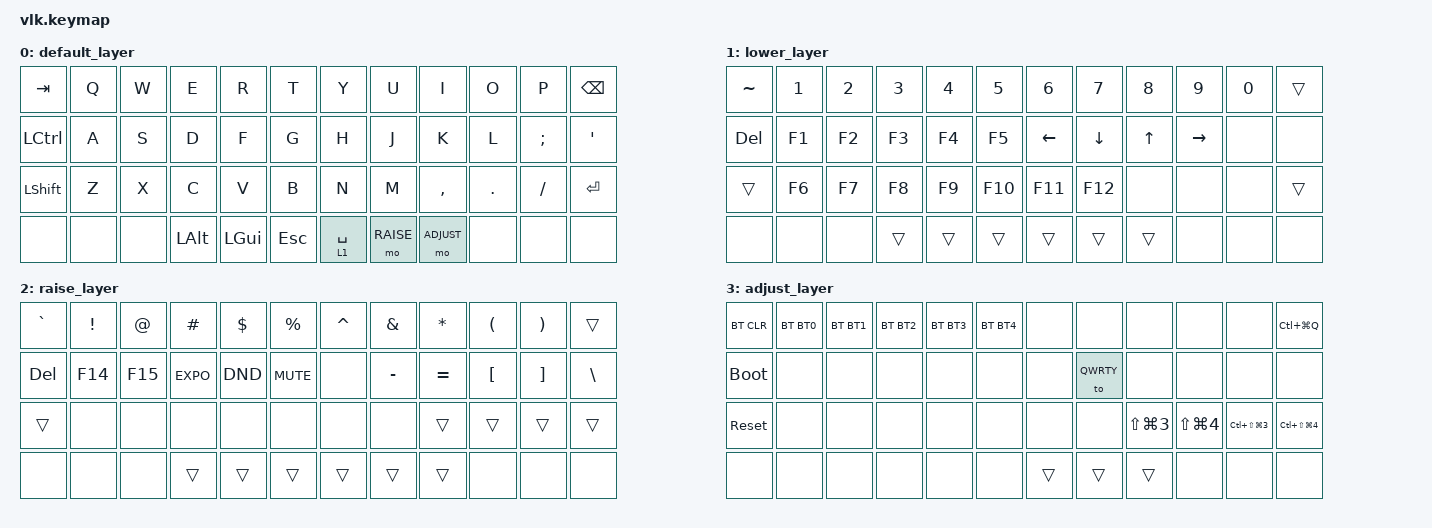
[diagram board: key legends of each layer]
#include <behaviors.dtsi>
#include <dt-bindings/zmk/keys.h>
#include <dt-bindings/zmk/bt.h>
#include <dt-bindings/zmk/outputs.h>

// Layer Definitions
#define QWRTY 0     // Qwerty
#define LOWER 1
#define RAISE 2
#define ADJUST 3

// Apple Specific Definitions
// See: https://opensource.apple.com/source/IOHIDFamily/IOHIDFamily-1035.70.7/IOHIDFamily/AppleHIDUsageTables.h.auto.html
#define APPL_KEY_PAGE (0xff01)
#define EXPOSE_ALL (ZMK_HID_USAGE(APPL_KEY_PAGE, 0x0010))
#define DND (ZMK_HID_USAGE(HID_USAGE_GD, HID_USAGE_GD_SYSTEM_DO_NOT_DISTURB))

// Abbreviations
#define BRID F14
#define BRIU F15
#define EXPO (EXPOSE_ALL)
#define MUTE C_MUTE
#define CVOLD C_VOLUME_DOWN
#define CVOLU C_VOLUME_UP
#define BT0 BT_SEL 0
#define BT1 BT_SEL 1
#define BT2 BT_SEL 2
#define BT3 BT_SEL 3
#define BT4 BT_SEL 4
#define LOCK LC(LG(Q))          // MacOS Lock Screen
#define SCRNF LS(LG(N3))        // MacOS Full Screenshot
#define SCRNP LS(LG(N4))        // MacOS Partial Screenshot
#define SCRNFC LC(LS(LG(N3)))   // MacOS Full Screenshot to Clipboard
#define SCRNPC LC(LS(LG(N4)))   // MacOS Partial Screenshot to Clipboard

/ {

    keymap {
        compatible = "zmk,keymap";

        default_layer {
            bindings = <
        //  ╭──────────┬──────────┬──────────┬──────────┬──────────┬──────────┬──────────┬──────────┬──────────┬──────────┬──────────┬──────────╮
        //  │ TAB      │  Q       │  W       │  E       │  R       │  T       │  Y       │  U       │  I       │  O       │  P       │  BSPC    │
              &kp TAB     &kp Q      &kp W      &kp E      &kp R      &kp T      &kp Y      &kp U      &kp I      &kp O      &kp P      &kp BSPC
        //  ├──────────┼──────────┼──────────┼──────────┼──────────┼──────────┼──────────┼──────────┼──────────┼──────────┼──────────┼──────────┤
        //  │ CTRL     │  A       │  S       │  D       │  F       │  G       │  H       │  J       │  K       │  L       │  ;       │  '       │
              &kp LCTRL   &kp A      &kp S      &kp D      &kp F      &kp G      &kp H      &kp J      &kp K      &kp L      &kp SEMI   &kp SQT   
        //  ├──────────┼──────────┼──────────┼──────────┼──────────┼──────────┼──────────┼──────────┼──────────┼──────────┼──────────┼──────────┤
        //  │ SHIFT    │  Z       │  X       │  C       │  V       │  B       │  N       │  M       │  ,       │  .       │  /       │  ENTER   │
              &kp LSHFT   &kp Z      &kp X      &kp C      &kp V      &kp B      &kp N      &kp M      &kp COMMA  &kp DOT    &kp FSLH   &kp RET   
        //  ├──────────┼──────────┼──────────┼──────────┼──────────┼──────────┼──────────┼──────────┼──────────┼──────────┼──────────┼──────────┤
        //  │ ----     │ ----     │ ----     │ ALT      │ GUI      │ ESC      │ L1/SPACE │ L2       │ L3       │ ----     │ ----     │ ----     │
              &none      &none      &none      &kp LALT   &kp LGUI   &kp ESC   &lt 1 SPACE &mo RAISE  &mo ADJUST &none      &none      &none  
        //  ╰──────────┴──────────┴──────────┴──────────┴──────────┴──────────┴──────────┴──────────┴──────────┴──────────┴──────────┴──────────╯
            >;
        };

        lower_layer {
            bindings = <
        //  ╭──────────┬──────────┬──────────┬──────────┬──────────┬──────────┬──────────┬──────────┬──────────┬──────────┬──────────┬──────────╮
        //  │  ~       │  1       │  2       │  3       │  4       │  5       │  6       │  7       │  8       │  9       │  0       │  TRANS   │
               &kp TILDE  &kp N1     &kp N2     &kp N3     &kp N4     &kp N5     &kp N6     &kp N7     &kp N8     &kp N9     &kp N0     &trans   
        //  ├──────────┼──────────┼──────────┼──────────┼──────────┼──────────┼──────────┼──────────┼──────────┼──────────┼──────────┼──────────┤
        //  │  DEL     │  F1      │  F2      │  F3      │  F4      │  F5      │  LEFT    │  DOWN    │  UP      │  RIGHT   │  NONE    │  NONE    │
               &kp DEL    &kp F1     &kp F2     &kp F3     &kp F4     &kp F5     &kp LEFT   &kp DOWN   &kp UP     &kp RIGHT  &none      &none  
        //  ├──────────┼──────────┼──────────┼──────────┼──────────┼──────────┼──────────┼──────────┼──────────┼──────────┼──────────┼──────────┤
        //  │  TRANS   │  F6      │  F7      │  F8      │  F9      │  F10     │  F11     │  F12     │  NONE    │  NONE    │  NONE    │  TRANS   │
               &trans     &kp F6     &kp F7     &kp F8     &kp F9     &kp F10    &kp F11    &kp F12    &none      &none      &none      &trans   
        //  ├──────────┼──────────┼──────────┼──────────┼──────────┼──────────┼──────────┼──────────┼──────────┼──────────┼──────────┼──────────┤
        //  │ ----     │ ----     │ ----     │ TRANS    │ TRANS    │ TRANS    │ TRANS    │ TRANS    │ TRANS    │ ----     │ ----     │ ----     │
              &none      &none      &none      &trans     &trans     &trans     &trans     &trans     &trans     &none      &none      &none   
        //  ╰──────────┴──────────┴──────────┴──────────┴──────────┴──────────┴──────────┴──────────┴──────────┴──────────┴──────────┴──────────╯
            >;
        };

        raise_layer {
            bindings = <
        //  ╭──────────┬──────────┬──────────┬──────────┬──────────┬──────────┬──────────┬──────────┬──────────┬──────────┬──────────┬──────────╮
        //  │  `       │  !       │  @       │  #       │  $       │  %       │  ^       │  &       │  *       │  (       │  )       │ TRANS    │
             &kp GRAVE    &kp EXCL    &kp AT    &kp HASH   &kp DLLR  &kp PRCNT  &kp CARET   &kp AMPS  &kp ASTRK   &kp LPAR   &kp RPAR  &trans   
        //  ├──────────┼──────────┼──────────┼──────────┼──────────┼──────────┼──────────┼──────────┼──────────┼──────────┼──────────┼──────────┤
        //  │ DEL      │ BRI_UP   │ BRI_DN   │ EXPO     │ DND      │ MUTE     │ NONE     │  -       │  =       │  [       │  ]       │  \       │
              &kp DEL    &kp BRID   &kp BRIU   &kp EXPO   &kp DND    &kp MUTE   &none      &kp MINUS  &kp EQUAL   &kp LBKT   &kp RBKT   &kp BSLH  
        //  ├──────────┼──────────┼──────────┼──────────┼──────────┼──────────┼──────────┼──────────┼──────────┼──────────┼──────────┼──────────┤
        //  │ TRANS    │ NONE     │ NONE     │ NONE     │ NONE     │ NONE     │ NONE     │ NONE     │ TRANS    │ TRANS    │ TRANS    │ TRANS    │
              &trans     &none      &none      &none      &none      &none      &none      &none      &trans     &trans     &trans     &trans   
        //  ├──────────┼──────────┼──────────┼──────────┼──────────┼──────────┼──────────┼──────────┼──────────┼──────────┼──────────┼──────────┤
        //  │ ----     │ ----     │ ----     │ TRANS    │ TRANS    │ TRANS    │ TRANS    │ TRANS    │ TRANS    │ ----     │ ----     │ ----     │
              &none      &none      &none      &trans     &trans     &trans     &trans     &trans     &trans     &none      &none      &none 
        //  ╰──────────┴──────────┴──────────┴──────────┴──────────┴──────────┴──────────┴──────────┴──────────┴──────────┴──────────┴──────────╯
            >;
        };

        adjust_layer {
            bindings = <
        //  ╭──────────┬──────────┬──────────┬──────────┬──────────┬──────────┬──────────┬──────────┬──────────┬──────────┬──────────┬──────────╮
        //  │ BT_CLR   │ BT 1     │ BT 2     │ BT 3     │ BT 4     │ BT 5     │ NONE     │ NONE     │ NONE     │ NONE     │ NONE     │ LOCK     │
              &bt BT_CLR &bt BT0    &bt BT1    &bt BT2    &bt BT3    &bt BT4    &none      &none      &none      &none      &none      &kp LOCK
        //  ├──────────┼──────────┼──────────┼──────────┼──────────┼──────────┼──────────┼──────────┼──────────┼──────────┼──────────┼──────────┤
        //  │ NONE     │ NONE     │ NONE     │ NONE     │ NONE     │ NONE     │ NONE     │ QWRTY    │ CLMK     │ DVRK     │ WORK     │ NONE     │
             &bootloader &none      &none      &none      &none      &none      &none      &to QWRTY  &none      &none      &none      &none
        //  ├──────────┼──────────┼──────────┼──────────┼──────────┼──────────┼──────────┼──────────┼──────────┼──────────┼──────────┼──────────┤
        //  │ NONE     │ NONE     │ NONE     │ NONE     │ NONE     │ NONE     │ NONE     │ NONE     │ SCRNF    │ SCRNP    │ SCRNFC   │ SCRNPC   │
              &sys_reset &none      &none      &none      &none      &none      &none      &none      &kp SCRNF  &kp SCRNP  &kp SCRNFC &kp SCRNPC
        //  ├──────────┼──────────┼──────────┼──────────┼──────────┼──────────┼──────────┼──────────┼──────────┼──────────┼──────────┼──────────┤
        //  │ ----     │ ----     │ ----     │ NONE     │ NONE     │ NONE     │ TRANS    │ TRANS    │ TRANS    │ ----     │ ----     │ ----     |
              &none      &none      &none      &none      &none      &none      &trans     &trans     &trans     &none      &none      &none
        //  ╰──────────┴──────────┴──────────┴──────────┴──────────┴──────────┴──────────┴──────────┴──────────┴──────────┴──────────┴──────────╯
            >;
        };
    };
};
